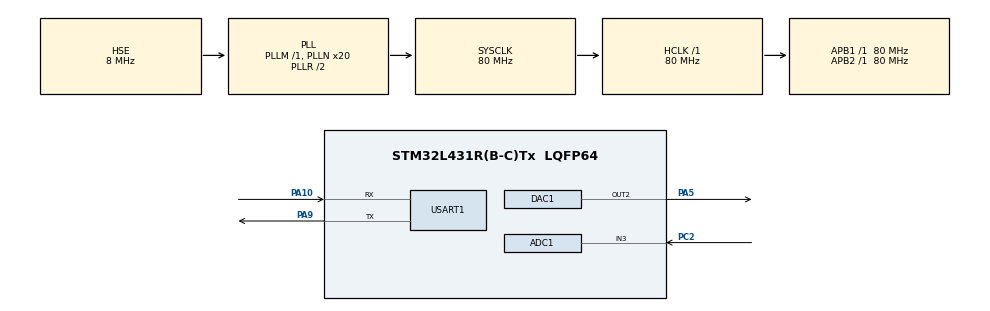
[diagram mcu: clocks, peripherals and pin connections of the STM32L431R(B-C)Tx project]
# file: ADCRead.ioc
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ADC1.Channel-0\#ChannelRegularConversion=ADC_CHANNEL_3
ADC1.NbrOfConversionFlag=1
ADC1.OffsetNumber-0\#ChannelRegularConversion=ADC_OFFSET_NONE
ADC1.Rank-0\#ChannelRegularConversion=1
ADC1.SamplingTime-0\#ChannelRegularConversion=ADC_SAMPLETIME_2CYCLES_5
ADC1.master=1
DAC1.DAC_Channel-DAC_OUT2=DAC_CHANNEL_2
Mcu.Family=STM32L4
Mcu.Name=STM32L431R(B-C)Tx
Mcu.Package=LQFP64
NVIC.PriorityGroup=NVIC_PRIORITYGROUP_4
PA10.Mode=Asynchronous
PA10.Signal=USART1_RX
PA5.Signal=COMP_DAC12_group
PA9.Mode=Asynchronous
PA9.Signal=USART1_TX
PC14-OSC32_IN\ (PC14).Mode=LSE-External-Oscillator
PC14-OSC32_IN\ (PC14).Signal=RCC_OSC32_IN
PC15-OSC32_OUT\ (PC15).Mode=LSE-External-Oscillator
PC15-OSC32_OUT\ (PC15).Signal=RCC_OSC32_OUT
PC2.Signal=ADCx_IN3
PH0-OSC_IN\ (PH0).Mode=HSE-External-Oscillator
PH0-OSC_IN\ (PH0).Signal=RCC_OSC_IN
PH1-OSC_OUT\ (PH1).Mode=HSE-External-Oscillator
PH1-OSC_OUT\ (PH1).Signal=RCC_OSC_OUT
ProjectManager.HeapSize=0x200
ProjectManager.StackSize=0x400
ProjectManager.TargetToolchain=SW4STM32
RCC.ADCFreq_Value=32000000
RCC.AHBFreq_Value=80000000
RCC.APB1Freq_Value=80000000
RCC.APB1TimFreq_Value=80000000
RCC.APB2Freq_Value=80000000
RCC.APB2TimFreq_Value=80000000
RCC.CortexFreq_Value=80000000
RCC.HCLKFreq_Value=80000000
RCC.HSE_VALUE=8000000
RCC.HSI48_VALUE=48000000
RCC.HSI_VALUE=16000000
RCC.MSI_VALUE=4000000
RCC.PLLN=20
RCC.PLLSourceVirtual=RCC_PLLSOURCE_HSE
RCC.SYSCLKFreq_VALUE=80000000
RCC.SYSCLKSource=RCC_SYSCLKSOURCE_PLLCLK
RCC.VCOOutputFreq_Value=160000000
SH.ADCx_IN3.0=ADC1_IN3,IN3-Single-Ended
SH.COMP_DAC12_group.0=DAC1_OUT2,DAC_OUT2
USART1.VirtualMode-Asynchronous=VM_ASYNC
board=custom

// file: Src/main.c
/* USER CODE BEGIN Header */
/**
  ******************************************************************************
  * @file           : main.c
  * @brief          : Main program body
  ******************************************************************************
  * @attention
  *
  * <h2><center>&copy; Copyright (c) 2019 STMicroelectronics.
  * All rights reserved.</center></h2>
  *
  * This software component is licensed by ST under BSD 3-Clause license,
  * the "License"; You may not use this file except in compliance with the
  * License. You may obtain a copy of the License at:
  *                        opensource.org/licenses/BSD-3-Clause
  *
  ******************************************************************************
  */
/* USER CODE END Header */

#include "main.h"
#include "adc.h"
#include "dac.h"
#include "usart.h"
#include "gpio.h"

/* USER CODE BEGIN Includes */
#if 1
#include <stdio.h>
int _write(int fd, char *ptr, int len){
    HAL_UART_Transmit(&huart1, (uint8_t*)ptr, len, 0xFFFF);
    return len;
}

void PrintFloat(float value)
{
    int tmp,tmp1,tmp2,tmp3,tmp4,tmp5,tmp6;
    tmp = (int)value;
    tmp1=(int)((value-tmp)*10)%10;
    tmp2=(int)((value-tmp)*100)%10;
    tmp3=(int)((value-tmp)*1000)%10;
    tmp4=(int)((value-tmp)*10000)%10;
    tmp5=(int)((value-tmp)*100000)%10;
    tmp6=(int)((value-tmp)*1000000)%10;
    printf("f-value=%d.%d%d%d%d%d%d\n",tmp,tmp1,tmp2,tmp3,tmp4,tmp5,tmp6);
}
#endif
/* USER CODE END Includes */

void SystemClock_Config(void);

int main(void)
{
  /* USER CODE BEGIN 1 */
  uint16_t  i = 0;
  uint16_t adc_value = 0;
  float vol = 0.0;

  /* USER CODE END 1 */

  /* MCU Configuration--------------------------------------------------------*/

  /* Reset of all peripherals, Initializes the Flash interface and the Systick. */
  HAL_Init();

  /* Configure the system clock */
  SystemClock_Config();

  /* Initialize all configured peripherals */
  MX_GPIO_Init();
  MX_ADC1_Init();
  MX_DAC1_Init();
  MX_USART1_UART_Init();
  /* USER CODE BEGIN 2 */
  printf("DAC ADC Test...\n");
  HAL_DAC_Start(&hdac1, DAC_CHANNEL_2);

  /* USER CODE END 2 */

  /* Infinite loop */
  while (1)
  {
    for(i = 0; i < 4096; ++i){
        HAL_DAC_SetValue(&hdac1, DAC_CHANNEL_2, DAC_ALIGN_12B_R, i);
        HAL_Delay(2);
        if(i%1024 == 0){
            /*使用ADC采样*/
            HAL_ADC_Start(&hadc1); //启动ADC单词转换
            HAL_ADC_PollForConversion(&hadc1, 50); //等待ADC转换完成
            adc_value = HAL_ADC_GetValue(&hadc1); //读取ADC转换数据
            vol = ((double)adc_value/4096)*3.3;
            printf("adc_value = %d ", adc_value);
            PrintFloat(vol);
        }
    }

  }
}

void SystemClock_Config(void)
{
  RCC_OscInitTypeDef RCC_OscInitStruct = {0};
  RCC_ClkInitTypeDef RCC_ClkInitStruct = {0};
  RCC_PeriphCLKInitTypeDef PeriphClkInit = {0};

  /** Initializes the CPU, AHB and APB busses clocks
  */
  RCC_OscInitStruct.OscillatorType = RCC_OSCILLATORTYPE_HSE;
  RCC_OscInitStruct.HSEState = RCC_HSE_ON;
  RCC_OscInitStruct.PLL.PLLState = RCC_PLL_ON;
  RCC_OscInitStruct.PLL.PLLSource = RCC_PLLSOURCE_HSE;
  RCC_OscInitStruct.PLL.PLLM = 1;
  RCC_OscInitStruct.PLL.PLLN = 20;
  RCC_OscInitStruct.PLL.PLLP = RCC_PLLP_DIV7;
  RCC_OscInitStruct.PLL.PLLQ = RCC_PLLQ_DIV2;
  RCC_OscInitStruct.PLL.PLLR = RCC_PLLR_DIV2;
  if (HAL_RCC_OscConfig(&RCC_OscInitStruct) != HAL_OK)
  {
    Error_Handler();
  }
  /** Initializes the CPU, AHB and APB busses clocks
  */
  RCC_ClkInitStruct.ClockType = RCC_CLOCKTYPE_HCLK|RCC_CLOCKTYPE_SYSCLK
                              |RCC_CLOCKTYPE_PCLK1|RCC_CLOCKTYPE_PCLK2;
  RCC_ClkInitStruct.SYSCLKSource = RCC_SYSCLKSOURCE_PLLCLK;
  RCC_ClkInitStruct.AHBCLKDivider = RCC_SYSCLK_DIV1;
  RCC_ClkInitStruct.APB1CLKDivider = RCC_HCLK_DIV1;
  RCC_ClkInitStruct.APB2CLKDivider = RCC_HCLK_DIV1;

  if (HAL_RCC_ClockConfig(&RCC_ClkInitStruct, FLASH_LATENCY_4) != HAL_OK)
  {
    Error_Handler();
  }
  PeriphClkInit.PeriphClockSelection = RCC_PERIPHCLK_USART1|RCC_PERIPHCLK_ADC;
  PeriphClkInit.Usart1ClockSelection = RCC_USART1CLKSOURCE_PCLK2;
  PeriphClkInit.AdcClockSelection = RCC_ADCCLKSOURCE_PLLSAI1;
  PeriphClkInit.PLLSAI1.PLLSAI1Source = RCC_PLLSOURCE_HSE;
  PeriphClkInit.PLLSAI1.PLLSAI1M = 1;
  PeriphClkInit.PLLSAI1.PLLSAI1N = 8;
  PeriphClkInit.PLLSAI1.PLLSAI1P = RCC_PLLP_DIV7;
  PeriphClkInit.PLLSAI1.PLLSAI1Q = RCC_PLLQ_DIV2;
  PeriphClkInit.PLLSAI1.PLLSAI1R = RCC_PLLR_DIV2;
  PeriphClkInit.PLLSAI1.PLLSAI1ClockOut = RCC_PLLSAI1_ADC1CLK;
  if (HAL_RCCEx_PeriphCLKConfig(&PeriphClkInit) != HAL_OK)
  {
    Error_Handler();
  }
  /** Configure the main internal regulator output voltage
  */
  if (HAL_PWREx_ControlVoltageScaling(PWR_REGULATOR_VOLTAGE_SCALE1) != HAL_OK)
  {
    Error_Handler();
  }
}

void Error_Handler(void)
{
}

/************************ (C) COPYRIGHT STMicroelectronics *****END OF FILE****/
